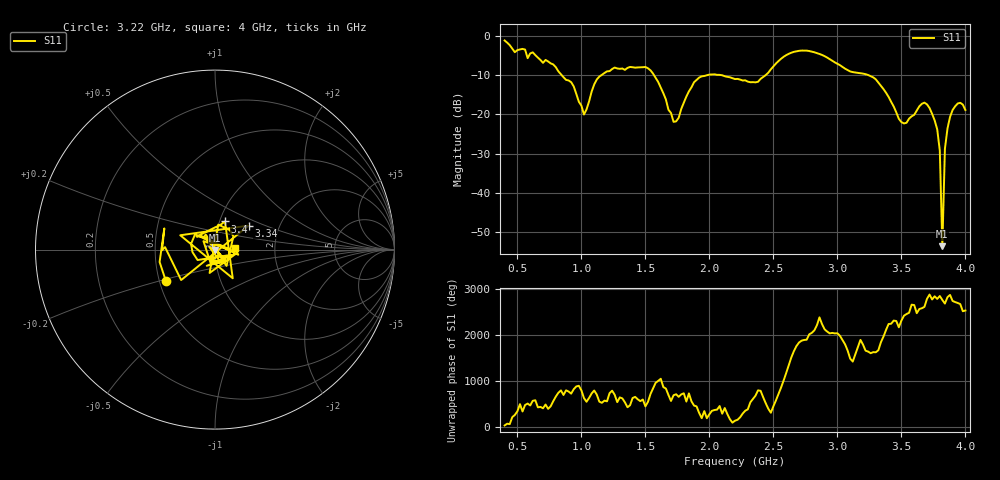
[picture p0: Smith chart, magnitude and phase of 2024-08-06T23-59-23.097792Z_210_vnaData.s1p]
!Created with skrf (http://scikit-rf.org).
# Hz S RI R 50.0
!freq ReS11 ImS11
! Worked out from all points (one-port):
!   181 points, 400 MHz to 4 GHz, reference 50 ohm
!   lowest |S11| = -53.6 dB at 3.82 GHz (marker M1), VSWR 1.00, Z = 49.9 - j0.163 ohm
!   |S11| at or under -10 dB: 1.567 GHz to 1.988 GHz (421.2 MHz wide, 23.7 % of centre); 2.088 GHz to 2.441 GHz (352.6 MHz wide, 15.6 % of centre); 3.24 GHz to end of sweep (the widest 3 of 4)
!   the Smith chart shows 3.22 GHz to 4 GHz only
!   S11 on the Smith chart (normalised r, x): 3.22 GHz: 0.54, -0.21; 3.34 GHz: 1.40, +0.39; 3.4 GHz: 1.06, +0.34; 4 GHz: 1.25, +0.02
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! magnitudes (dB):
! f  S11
! 400 MHz  -1.2
! 860 MHz  -10.6
! 940 MHz  -12.9
! 1.02 GHz  -20.1
! 1.12 GHz  -11.1
! 1.3 GHz  -8.4
! 1.54 GHz  -8.8
! 1.72 GHz  -21.9
! 1.76 GHz  -20.9
! 1.92 GHz  -10.7
! 2.2 GHz  -11.0
! 2.38 GHz  -11.7
! 2.66 GHz  -4.1
! 2.86 GHz  -4.6
! 3.1 GHz  -9.1
! 3.22 GHz  -9.8
! 3.34 GHz  -12.8
! 3.4 GHz  -15.6
! 3.5 GHz  -22.0
! 3.56 GHz  -21.1
! 3.68 GHz  -17.0
! 3.78 GHz  -23.9
! 3.8 GHz  -29.2
! 3.82 GHz  -53.6
! 3.84 GHz  -28.8
! 3.86 GHz  -23.6
! 3.94 GHz  -17.3
! 4 GHz  -18.9
